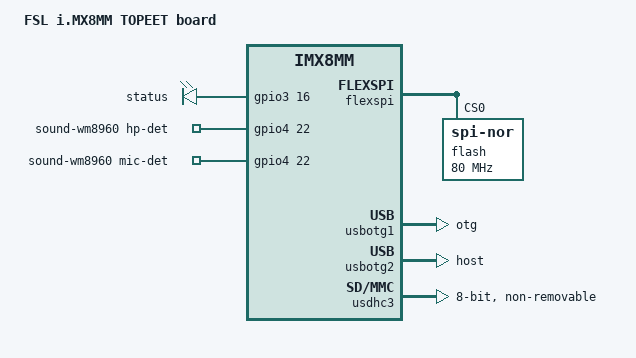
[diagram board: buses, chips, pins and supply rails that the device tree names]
// SPDX-License-Identifier: (GPL-2.0+ OR MIT)
/*
 * Copyright 2019-2020 NXP
 */

/dts-v1/;

#include <dt-bindings/usb/pd.h>
#include "imx8mm-topeet.dtsi"

/ {
	model = "FSL i.MX8MM TOPEET board";
	compatible = "fsl,imx8mm-topeet", "fsl,imx8mm";

	aliases {
		spi0 = &flexspi;
	};

	usdhc1_pwrseq: usdhc1_pwrseq {
		compatible = "mmc-pwrseq-simple";
		pinctrl-names = "default";
		// pinctrl-0 = <&pinctrl_usdhc1_gpio>;
		// reset-gpios = <&gpio2 10 GPIO_ACTIVE_LOW>;
	};

	clocks {
		mcp251x_clock: mcp251x_clock{
			compatible = "fixed-clock";
			#clock-cells = <0>;
			clock-frequency = <8000000>;
		};
	};

	leds {
		compatible = "gpio-leds";
		pinctrl-names = "default";
		pinctrl-0 = <&pinctrl_gpio_led>;

		status {
			label = "status";
			gpios = <&gpio3 16 0>;
			default-state = "on";
		};
	};
/*
	gpio-keys {
        compatible = "gpio-keys";
        autorepeat;
        pinctrl-names = "default";
        pinctrl-0 = <&pinctrl_gpio_keys>;

        volumeup {
            label = "GPIO Key VOLUMEUP";
            linux,code = <115>;
            gpios = <&gpio4 31 GPIO_ACTIVE_LOW>;
        };

        volumedown {
            label = "GPIO Key VOLUMEDOWN";
            linux,code = <114>;
            gpios = <&gpio4 28 GPIO_ACTIVE_LOW>;
        };

        back {
            label = "GPIO Key BACK";
            linux,code = <172>;
            gpios = <&gpio5 2 GPIO_ACTIVE_LOW>;
        };
    };
*/
    sound-wm8960 {
  		compatible = "fsl,imx7d-evk-wm8960",
  			"fsl,imx-audio-wm8960";
  		model = "wm8960-audio";
		  audio-cpu = <&sai2>;
  		audio-codec = <&wm8960>;
  		codec-master;
		  gpr = <&gpr 4 0x100000 0x100000>;
		  // hp-det = <2 0>;
		  hp-det-gpio = <&gpio4 22 0>;
      mic-det-gpio = <&gpio4 22 0>;
  		audio-routing =
  			"Headphone Jack", "HP_L",
  			"Headphone Jack", "HP_R",
  			"Ext Spk", "SPK_LP",
  			"Ext Spk", "SPK_LN",
  			"Ext Spk", "SPK_RP",
  			"Ext Spk", "SPK_RN",
  			"LINPUT2", "Mic Jack",
  			"RINPUT2", "Mic Jack",
  			"Mic Jack", "MICB",
  			"Playback", "CPU-Playback",
  			"CPU-Capture", "Capture";
        
        /*,
  			"CPU-Playback", "ASRC-Playback",
  			"Playback", "CPU-Playback",
  			"ASRC-Capture", "CPU-Capture",
  			"CPU-Capture", "Capture";*/
      /* JD2: hp detect high for headphone*/
      /*
      hp-det-gpio = <&gpio4 22 GPIO_ACTIVE_HIGH>;
      mic-det-gpio = <&gpio4 22 GPIO_ACTIVE_HIGH>;
      pinctrl-names = "default";
      pinctrl-0 = <&pinctrl_sound_wm8960>; */
	};
};

&ddrc {
	operating-points-v2 = <&ddrc_opp_table>;

	ddrc_opp_table: opp-table {
		compatible = "operating-points-v2";

		opp-25M {
			opp-hz = /bits/ 64 <25000000>;
		};

		opp-100M {
			opp-hz = /bits/ 64 <100000000>;
		};

		opp-750M {
			opp-hz = /bits/ 64 <750000000>;
		};
	};
};

&flexspi {
	pinctrl-names = "default";
	pinctrl-0 = <&pinctrl_flexspi>;
	status = "okay";

	flash@0 {
		reg = <0>;
		#address-cells = <1>;
		#size-cells = <1>;
		compatible = "jedec,spi-nor";
		spi-max-frequency = <80000000>;
		spi-tx-bus-width = <1>;
		spi-rx-bus-width = <4>;
	};
};

&usbotg1 {
	dr_mode = "otg";
	/*extcon = <0>, <&typec1_ptn5110>;*/
	picophy,pre-emp-curr-control = <3>;
	picophy,dc-vol-level-adjust = <7>;
	status = "okay";
};

&usbotg2 {
	dr_mode = "host";
	/*extcon = <0>, <&typec2_ptn5110>;*/
	picophy,pre-emp-curr-control = <3>;
	picophy,dc-vol-level-adjust = <7>;
	status = "okay";
};

&{/busfreq} {
	/* Disable busfreq, to avoid 1st Linux busfreq crash other inmates */
	status = "disabled";
};

&usdhc1 {
	pinctrl-names = "default", "state_100mhz", "state_200mhz";
	pinctrl-0 = <&pinctrl_usdhc1>, <&pinctrl_wlan>;
	pinctrl-1 = <&pinctrl_usdhc1_100mhz>, <&pinctrl_wlan>;
	pinctrl-2 = <&pinctrl_usdhc1_200mhz>, <&pinctrl_wlan>;
	bus-width = <4>;
	keep-power-in-suspend;
	non-removable;
	wakeup-source;
	mmc-pwrseq = <&usdhc1_pwrseq>;
	fsl,sdio-async-interrupt-enabled;
	status = "disabled";

	wifi_wake_host {
		compatible = "nxp,wifi-wake-host";
		interrupt-parent = <&gpio2>;
		interrupts = <9 IRQ_TYPE_LEVEL_LOW>;
		interrupt-names = "host-wake";
	};
};

&usdhc3 {
	assigned-clocks = <&clk IMX8MM_CLK_USDHC3_ROOT>;
	assigned-clock-rates = <400000000>;
	pinctrl-names = "default", "state_100mhz", "state_200mhz";
	pinctrl-0 = <&pinctrl_usdhc3>;
	pinctrl-1 = <&pinctrl_usdhc3_100mhz>;
	pinctrl-2 = <&pinctrl_usdhc3_200mhz>;
	bus-width = <8>;
	non-removable;
	status = "okay";
};

&iomuxc {
	pinctrl_flexspi: flexspigrp {
		fsl,pins = <
			MX8MM_IOMUXC_NAND_ALE_QSPI_A_SCLK               0x1c2
			MX8MM_IOMUXC_NAND_CE0_B_QSPI_A_SS0_B            0x82
			MX8MM_IOMUXC_NAND_DATA00_QSPI_A_DATA0           0x82
			MX8MM_IOMUXC_NAND_DATA01_QSPI_A_DATA1           0x82
			MX8MM_IOMUXC_NAND_DATA02_QSPI_A_DATA2           0x82
			MX8MM_IOMUXC_NAND_DATA03_QSPI_A_DATA3           0x82
		>;
	};

	pinctrl_usdhc3: usdhc3grp {
		fsl,pins = <
			MX8MM_IOMUXC_NAND_WE_B_USDHC3_CLK               0x190
			MX8MM_IOMUXC_NAND_WP_B_USDHC3_CMD               0x1d0
			MX8MM_IOMUXC_NAND_DATA04_USDHC3_DATA0           0x1d0
			MX8MM_IOMUXC_NAND_DATA05_USDHC3_DATA1           0x1d0
			MX8MM_IOMUXC_NAND_DATA06_USDHC3_DATA2           0x1d0
			MX8MM_IOMUXC_NAND_DATA06_USDHC3_DATA2           0x1d0
			MX8MM_IOMUXC_NAND_DATA07_USDHC3_DATA3           0x1d0
			MX8MM_IOMUXC_NAND_RE_B_USDHC3_DATA4             0x1d0
			MX8MM_IOMUXC_NAND_CE2_B_USDHC3_DATA5            0x1d0
			MX8MM_IOMUXC_NAND_CE3_B_USDHC3_DATA6            0x1d0
			MX8MM_IOMUXC_NAND_CLE_USDHC3_DATA7              0x1d0
			MX8MM_IOMUXC_NAND_CE1_B_USDHC3_STROBE           0x190
		>;
	};

	pinctrl_usdhc3_100mhz: usdhc3-100mhzgrp {
		fsl,pins = <
			MX8MM_IOMUXC_NAND_WE_B_USDHC3_CLK               0x194
			MX8MM_IOMUXC_NAND_WP_B_USDHC3_CMD               0x1d4
			MX8MM_IOMUXC_NAND_DATA04_USDHC3_DATA0           0x1d4
			MX8MM_IOMUXC_NAND_DATA05_USDHC3_DATA1           0x1d4
			MX8MM_IOMUXC_NAND_DATA06_USDHC3_DATA2           0x1d4
			MX8MM_IOMUXC_NAND_DATA07_USDHC3_DATA3           0x1d4
			MX8MM_IOMUXC_NAND_RE_B_USDHC3_DATA4             0x1d4
			MX8MM_IOMUXC_NAND_CE2_B_USDHC3_DATA5            0x1d4
			MX8MM_IOMUXC_NAND_CE3_B_USDHC3_DATA6            0x1d4
			MX8MM_IOMUXC_NAND_CLE_USDHC3_DATA7              0x1d4
			MX8MM_IOMUXC_NAND_CE1_B_USDHC3_STROBE           0x194
		>;
	};

	pinctrl_usdhc3_200mhz: usdhc3-200mhzgrp {
		fsl,pins = <
			MX8MM_IOMUXC_NAND_WE_B_USDHC3_CLK               0x196
			MX8MM_IOMUXC_NAND_WP_B_USDHC3_CMD               0x1d6
			MX8MM_IOMUXC_NAND_DATA04_USDHC3_DATA0           0x1d6
			MX8MM_IOMUXC_NAND_DATA05_USDHC3_DATA1           0x1d6
			MX8MM_IOMUXC_NAND_DATA06_USDHC3_DATA2           0x1d6
			MX8MM_IOMUXC_NAND_DATA07_USDHC3_DATA3           0x1d6
			MX8MM_IOMUXC_NAND_RE_B_USDHC3_DATA4             0x1d6
			MX8MM_IOMUXC_NAND_CE2_B_USDHC3_DATA5            0x1d6
			MX8MM_IOMUXC_NAND_CE3_B_USDHC3_DATA6            0x1d6
			MX8MM_IOMUXC_NAND_CLE_USDHC3_DATA7              0x1d6
			MX8MM_IOMUXC_NAND_CE1_B_USDHC3_STROBE           0x196
		>;
	};

	pinctrl_wlan: wlangrp {
		fsl,pins = <
			MX8MM_IOMUXC_GPIO1_IO00_ANAMIX_REF_CLK_32K	0x141
			MX8MM_IOMUXC_SD1_DATA7_GPIO2_IO9		0x159
		>;
	};

	pinctrl_gpio_led: gpioledgrp {
		fsl,pins = <
			MX8MM_IOMUXC_NAND_READY_B_GPIO3_IO16	0x19
		>;
	};

	pinctrl_gpio_keys: gpio_keys {
		fsl,pins = <
			MX8MM_IOMUXC_SAI3_TXFS_GPIO4_IO31               0x19
			MX8MM_IOMUXC_SAI3_RXFS_GPIO4_IO28               0x19
			MX8MM_IOMUXC_SAI3_MCLK_GPIO5_IO2                0x19
		>;
	};
 
 	pinctrl_sound_wm8960: sound-wm8960grp {
		fsl,pins = <
			MX8MM_IOMUXC_SAI2_RXC_GPIO4_IO22	0x80
		>;
	};
};
